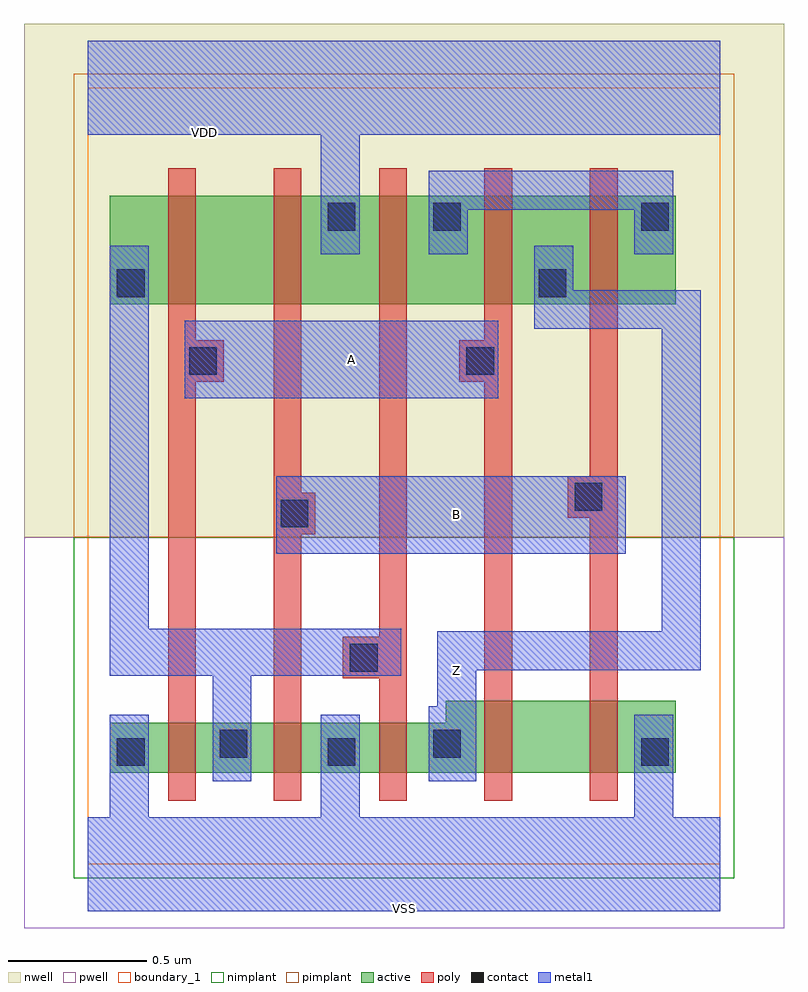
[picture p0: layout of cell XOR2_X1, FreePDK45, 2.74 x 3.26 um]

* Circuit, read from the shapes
.subckt XOR2_X1 A B VDD VSS Z
M1 n1 A VSS VSUBS nfet w=0.18u l=0.1u
M2 VSS B n1 VSUBS nfet w=0.18u l=0.1u
M3 Z n1 VSS VSUBS nfet w=0.18u l=0.1u
M4 n2 A Z VSUBS nfet w=0.26u l=0.1u
M5 VSS B n2 VSUBS nfet w=0.26u l=0.1u
M6 n3 A n1 n4 pfet w=0.39u l=0.1u
M7 VDD B n3 n4 pfet w=0.39u l=0.1u
M8 n5 n1 VDD n4 pfet w=0.39u l=0.1u
M9 Z A n5 n4 pfet w=0.39u l=0.1u
M10 n5 B Z n4 pfet w=0.39u l=0.1u
.ends

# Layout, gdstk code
import gdstk
lib = gdstk.Library(unit=1e-6, precision=1e-09)
def R(c, l, rs):  # rectangles x0, y0, x1, y1
    for r in rs: c.add(gdstk.rectangle(r[:2], r[2:], *l))
def P(c, l, *ps):  # polygons
    for p in ps: c.add(gdstk.Polygon(p, *l))
active = (1, 0)
pwell = (2, 0)
nwell = (3, 0)
nimplant = (4, 0)
pimplant = (5, 0)
poly = (9, 0)
contact = (10, 0)
metal1 = (11, 0)
boundary_1 = (235, 1)

xor2_x1 = lib.new_cell('XOR2_X1')
R(xor2_x1, active, [(0.08,2.02,2.12,2.41)])
P(xor2_x1, active, [(0.08,0.33),(2.12,0.33),(2.12,0.59),(1.29,0.59),(1.29,0.51),(0.08,0.51)])
R(xor2_x1, pwell, [(-0.23,-0.23,2.51,1.18)])
R(xor2_x1, nwell, [(-0.23,1.18,2.51,3.03)])
R(xor2_x1, nimplant, [(-0.05,-0.05,2.33,1.18)])
R(xor2_x1, pimplant, [(-0.05,1.18,2.33,2.85)])
P(xor2_x1, poly, [(1.73,1.25),(1.81,1.25),(1.81,0.23),(1.91,0.23),(1.91,2.51),(1.81,2.51),(1.81,1.4),(1.73,1.4)],
  [(1.34,1.74),(1.43,1.74),(1.43,0.23),(1.53,0.23),(1.53,2.51),(1.43,2.51),(1.43,1.89),(1.34,1.89)],
  [(0.92,0.67),(1.05,0.67),(1.05,0.23),(1.15,0.23),(1.15,2.51),(1.05,2.51),(1.05,0.82),(0.92,0.82)],
  [(0.67,0.23),(0.77,0.23),(0.77,1.19),(0.82,1.19),(0.82,1.34),(0.77,1.34),(0.77,2.51),(0.67,2.51)],
  [(0.29,0.23),(0.39,0.23),(0.39,1.74),(0.49,1.74),(0.49,1.89),(0.39,1.89),(0.39,2.51),(0.29,2.51)])
R(xor2_x1, contact, [(0.105,0.355,0.205,0.455), (0.865,0.355,0.965,0.455), (1.995,0.355,2.095,0.455), (0.475,0.385,0.575,0.485), (1.245,0.385,1.345,0.485), (0.945,0.695,1.045,0.795), (0.695,1.215,0.795,1.315), (1.755,1.275,1.855,1.375), (0.365,1.765,0.465,1.865), (1.365,1.765,1.465,1.865), (0.105,2.045,0.205,2.145), (1.625,2.045,1.725,2.145), (0.865,2.285,0.965,2.385), (1.245,2.285,1.345,2.385), (1.995,2.285,2.095,2.385)])
R(xor2_x1, metal1, [(0.68,1.12,1.94,1.4), (0.68,1.12,1.94,1.4), (0.35,1.68,1.48,1.96), (0.35,1.68,1.48,1.96)])
P(xor2_x1, metal1, [(0,-0.17),(2.28,-0.17),(2.28,0.17),(2.11,0.17),(2.11,0.54),(1.97,0.54),(1.97,0.17),(0.98,0.17),(0.98,0.54),(0.84,0.54),(0.84,0.17),(0.22,0.17),(0.22,0.54),(0.08,0.54),(0.08,0.17),(0,0.17)],
  [(0,2.63),(0.84,2.63),(0.84,2.2),(0.98,2.2),(0.98,2.63),(2.28,2.63),(2.28,2.97),(0,2.97)],
  [(1.61,1.93),(2.07,1.93),(2.07,0.84),(1.26,0.84),(1.26,0.57),(1.23,0.57),(1.23,0.3),(1.4,0.3),(1.4,0.7),(2.21,0.7),(2.21,2.07),(1.75,2.07),(1.75,2.23),(1.61,2.23)],
  [(0,2.63),(0.84,2.63),(0.84,2.2),(0.98,2.2),(0.98,2.63),(2.28,2.63),(2.28,2.97),(0,2.97)],
  [(0,-0.17),(2.28,-0.17),(2.28,0.17),(2.11,0.17),(2.11,0.54),(1.97,0.54),(1.97,0.17),(0.98,0.17),(0.98,0.54),(0.84,0.54),(0.84,0.17),(0.22,0.17),(0.22,0.54),(0.08,0.54),(0.08,0.17),(0,0.17)],
  [(1.61,1.93),(2.07,1.93),(2.07,0.84),(1.26,0.84),(1.26,0.57),(1.23,0.57),(1.23,0.3),(1.4,0.3),(1.4,0.7),(2.21,0.7),(2.21,2.07),(1.75,2.07),(1.75,2.23),(1.61,2.23)],
  [(1.23,2.2),(1.37,2.2),(1.37,2.36),(1.97,2.36),(1.97,2.2),(2.11,2.2),(2.11,2.5),(1.23,2.5)],
  [(0.08,0.68),(0.45,0.68),(0.45,0.3),(0.59,0.3),(0.59,0.68),(1.13,0.68),(1.13,0.85),(0.22,0.85),(0.22,2.23),(0.08,2.23)])
R(xor2_x1, boundary_1, [(0,0,2.28,2.8)])
xor2_x1.add(gdstk.Label('Z', (1.33,0.7), layer=11, texttype=0))
xor2_x1.add(gdstk.Label('VSS', (1.14,-0.16), layer=11, texttype=0))
xor2_x1.add(gdstk.Label('VDD', (0.42,2.64), layer=11, texttype=0))
xor2_x1.add(gdstk.Label('B', (1.33,1.26), layer=11, texttype=0))
xor2_x1.add(gdstk.Label('A', (0.95,1.82), layer=11, texttype=0))

lib.write_gds('XOR2_X1.gds')
